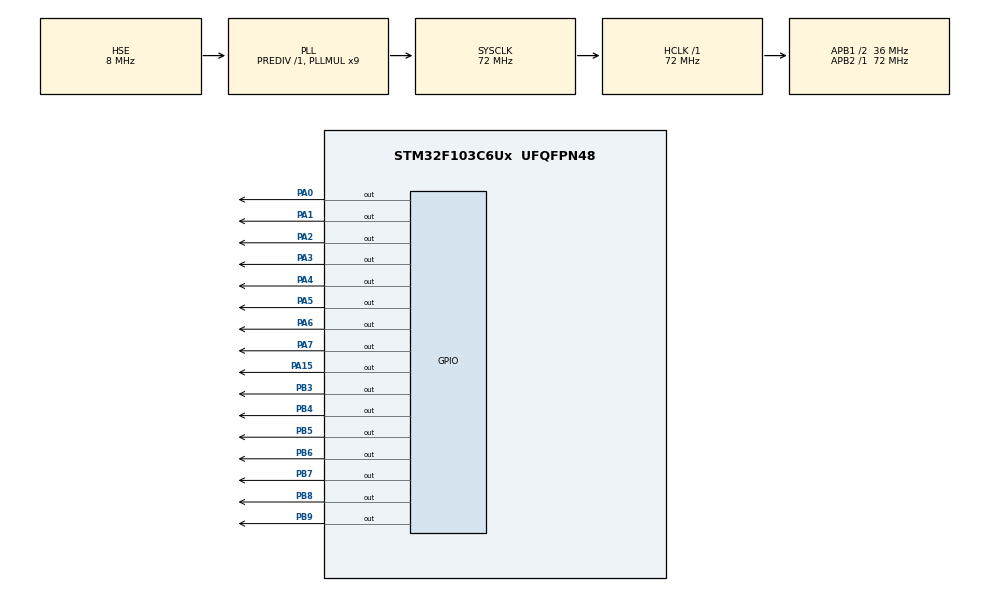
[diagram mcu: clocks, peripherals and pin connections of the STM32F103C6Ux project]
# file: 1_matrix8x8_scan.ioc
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Mcu.Family=STM32F1
PA2.GPIO_Speed=GPIO_SPEED_FREQ_HIGH
PB9.GPIO_ModeDefaultOutputPP=GPIO_MODE_OUTPUT_PP
PA7.GPIO_ModeDefaultOutputPP=GPIO_MODE_OUTPUT_PP
PA3.GPIO_Speed=GPIO_SPEED_FREQ_HIGH
PB3.GPIO_Speed=GPIO_SPEED_FREQ_HIGH
RCC.SYSCLKSource=RCC_SYSCLKSOURCE_PLLCLK
ProjectManager.StackSize=0x400
PD1-OSC_OUT.Signal=RCC_OSC_OUT
RCC.HCLKFreq_Value=72000000
RCC.APB2TimFreq_Value=72000000
PB6.Signal=GPIO_Output
RCC.AHBFreq_Value=72000000
PA0-WKUP.GPIO_Speed=GPIO_SPEED_FREQ_HIGH
RCC.PLLMUL=RCC_PLL_MUL9
PA4.GPIO_Speed=GPIO_SPEED_FREQ_HIGH
PA14.Mode=Serial_Wire
NVIC.TIM2_IRQn=true\:0\:0\:false\:false\:true\:true\:true
PB7.Signal=GPIO_Output
PA15.GPIO_ModeDefaultOutputPP=GPIO_MODE_OUTPUT_PP
Mcu.Package=UFQFPN48
PB9.Signal=GPIO_Output
TIM2.Prescaler=72-1
PA6.Signal=GPIO_Output
PA2.GPIO_ModeDefaultOutputPP=GPIO_MODE_OUTPUT_PP
PB6.GPIO_ModeDefaultOutputPP=GPIO_MODE_OUTPUT_PP
PA15.Signal=GPIO_Output
PB8.GPIO_ModeDefaultOutputPP=GPIO_MODE_OUTPUT_PP
PA4.GPIO_ModeDefaultOutputPP=GPIO_MODE_OUTPUT_PP
PA6.GPIO_ModeDefaultOutputPP=GPIO_MODE_OUTPUT_PP
PB5.GPIO_Speed=GPIO_SPEED_FREQ_HIGH
PB9.GPIO_Speed=GPIO_SPEED_FREQ_HIGH
RCC.APB1TimFreq_Value=72000000
PA6.GPIO_Speed=GPIO_SPEED_FREQ_HIGH
PB4.Signal=GPIO_Output
PB4.GPIO_ModeDefaultOutputPP=GPIO_MODE_OUTPUT_PP
PA3.Signal=GPIO_Output
PB7.GPIO_Speed=GPIO_SPEED_FREQ_HIGH
RCC.PLLSourceVirtual=RCC_PLLSOURCE_HSE
PB5.GPIO_ModeDefaultOutputPP=GPIO_MODE_OUTPUT_PP
PA0-WKUP.GPIO_ModeDefaultOutputPP=GPIO_MODE_OUTPUT_PP
PA3.GPIO_ModeDefaultOutputPP=GPIO_MODE_OUTPUT_PP
PD1-OSC_OUT.Mode=HSE-External-Oscillator
PD0-OSC_IN.Signal=RCC_OSC_IN
RCC.APB1CLKDivider=RCC_HCLK_DIV2
PA0-WKUP.Signal=GPIO_Output
PA13.Signal=SYS_JTMS-SWDIO
ProjectManager.TargetToolchain=STM32CubeIDE
RCC.USBFreq_Value=72000000
PA1.Signal=GPIO_Output
PD0-OSC_IN.Mode=HSE-External-Oscillator
PA5.Signal=GPIO_Output
board=custom
PA7.GPIO_Speed=GPIO_SPEED_FREQ_HIGH
PB4.GPIO_Speed=GPIO_SPEED_FREQ_HIGH
RCC.APB2Freq_Value=72000000
PA5.GPIO_ModeDefaultOutputPP=GPIO_MODE_OUTPUT_PP
VP_TIM2_VS_ClockSourceINT.Mode=Internal
PB7.GPIO_ModeDefaultOutputPP=GPIO_MODE_OUTPUT_PP
PA1.GPIO_Speed=GPIO_SPEED_FREQ_HIGH
TIM2.Period=0xffff-1
PA13.Mode=Serial_Wire
Mcu.Name=STM32F103C6Ux
PA2.Signal=GPIO_Output
PB3.Signal=GPIO_Output
PA4.Signal=GPIO_Output
RCC.SYSCLKFreq_VALUE=72000000
PB5.Signal=GPIO_Output
PA15.GPIO_Speed=GPIO_SPEED_FREQ_HIGH
PA14.Signal=SYS_JTCK-SWCLK
ProjectManager.HeapSize=0x200
PA5.GPIO_Speed=GPIO_SPEED_FREQ_HIGH
NVIC.PriorityGroup=NVIC_PRIORITYGROUP_4
PB8.Signal=GPIO_Output
PB6.GPIO_Speed=GPIO_SPEED_FREQ_HIGH
RCC.APB1Freq_Value=36000000
PB8.GPIO_Speed=GPIO_SPEED_FREQ_HIGH
PB3.GPIO_ModeDefaultOutputPP=GPIO_MODE_OUTPUT_PP
PA7.Signal=GPIO_Output
PA1.GPIO_ModeDefaultOutputPP=GPIO_MODE_OUTPUT_PP

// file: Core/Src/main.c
/* USER CODE BEGIN Header */
/**
  ******************************************************************************
  * @file           : main.c
  * @brief          : Main program body
  ******************************************************************************
  * @attention
  *
  * <h2><center>&copy; Copyright (c) 2021 STMicroelectronics.
  * All rights reserved.</center></h2>
  *
  * This software component is licensed by ST under BSD 3-Clause license,
  * the "License"; You may not use this file except in compliance with the
  * License. You may obtain a copy of the License at:
  *                        opensource.org/licenses/BSD-3-Clause
  *
  ******************************************************************************
  */
/* USER CODE END Header */
#include "main.h"

TIM_HandleTypeDef htim2;

void SystemClock_Config(void);
static void MX_GPIO_Init(void);
static void MX_TIM2_Init(void);

/* USER CODE BEGIN 0 */
volatile uint32_t cntTimer;
volatile uint32_t mSecond;
uint16_t ms = 0;
void HAL_TIM_PeriodElapsedCallback(TIM_HandleTypeDef *htim)
{
	if(htim->Instance == TIM2)
	{
		if(cntTimer>0)
		{
			cntTimer--;
			HAL_TIM_Base_Start_IT(&htim2);
		}
		else
		HAL_TIM_Base_Stop_IT(&htim2);
	}
}
void Delay_us(uint32_t _cntTimer)
{
	cntTimer = _cntTimer;
	HAL_TIM_Base_Start_IT(&htim2);
	while(cntTimer);
}
void SysTick_Handler(void)
{
  /* USER CODE BEGIN SysTick_IRQn 0 */

  /* USER CODE END SysTick_IRQn 0 */
	if(ms<2000)
	{
		ms++;
	}
	else
	{
		ms = 0;
		if(mSecond<37)
			mSecond++;
		else
			mSecond = 0;
	}
  HAL_IncTick();
  /* USER CODE BEGIN SysTick_IRQn 1 */

  /* USER CODE END SysTick_IRQn 1 */
}
/* USER CODE END 0 */

int main(void)
{

  /* MCU Configuration--------------------------------------------------------*/

  /* Reset of all peripherals, Initializes the Flash interface and the Systick. */
  HAL_Init();

  /* Configure the system clock */
  SystemClock_Config();

  /* Initialize all configured peripherals */
  MX_GPIO_Init();
  MX_TIM2_Init();
  /* USER CODE BEGIN 2 */
  HAL_GPIO_WritePin(GPIOA, GPIO_PIN_0, GPIO_PIN_SET);//ROW 1 HIGH
   HAL_GPIO_WritePin(GPIOB, GPIO_PIN_9, GPIO_PIN_SET);//ROW 1 HIGH
  /* USER CODE END 2 */

  /* Infinite loop */
  while (1)
  {

    /* USER CODE BEGIN 3 */
	//  Matrix8x8_Display_Symbol(cntTimer);
  }
  /* USER CODE END 3 */
}

void SystemClock_Config(void)
{
  RCC_OscInitTypeDef RCC_OscInitStruct = {0};
  RCC_ClkInitTypeDef RCC_ClkInitStruct = {0};

  /** Initializes the RCC Oscillators according to the specified parameters
  * in the RCC_OscInitTypeDef structure.
  */
  RCC_OscInitStruct.OscillatorType = RCC_OSCILLATORTYPE_HSE;
  RCC_OscInitStruct.HSEState = RCC_HSE_ON;
  RCC_OscInitStruct.HSEPredivValue = RCC_HSE_PREDIV_DIV1;
  RCC_OscInitStruct.HSIState = RCC_HSI_ON;
  RCC_OscInitStruct.PLL.PLLState = RCC_PLL_ON;
  RCC_OscInitStruct.PLL.PLLSource = RCC_PLLSOURCE_HSE;
  RCC_OscInitStruct.PLL.PLLMUL = RCC_PLL_MUL9;
  if (HAL_RCC_OscConfig(&RCC_OscInitStruct) != HAL_OK)
  {
    Error_Handler();
  }
  /** Initializes the CPU, AHB and APB buses clocks
  */
  RCC_ClkInitStruct.ClockType = RCC_CLOCKTYPE_HCLK|RCC_CLOCKTYPE_SYSCLK
                              |RCC_CLOCKTYPE_PCLK1|RCC_CLOCKTYPE_PCLK2;
  RCC_ClkInitStruct.SYSCLKSource = RCC_SYSCLKSOURCE_PLLCLK;
  RCC_ClkInitStruct.AHBCLKDivider = RCC_SYSCLK_DIV1;
  RCC_ClkInitStruct.APB1CLKDivider = RCC_HCLK_DIV2;
  RCC_ClkInitStruct.APB2CLKDivider = RCC_HCLK_DIV1;

  if (HAL_RCC_ClockConfig(&RCC_ClkInitStruct, FLASH_LATENCY_2) != HAL_OK)
  {
    Error_Handler();
  }
}

static void MX_TIM2_Init(void)
{

  TIM_ClockConfigTypeDef sClockSourceConfig = {0};
  TIM_MasterConfigTypeDef sMasterConfig = {0};

  htim2.Instance = TIM2;
  htim2.Init.Prescaler = 72-1;
  htim2.Init.CounterMode = TIM_COUNTERMODE_UP;
  htim2.Init.Period = 0xffff-1;
  htim2.Init.ClockDivision = TIM_CLOCKDIVISION_DIV1;
  htim2.Init.AutoReloadPreload = TIM_AUTORELOAD_PRELOAD_DISABLE;
  if (HAL_TIM_Base_Init(&htim2) != HAL_OK)
  {
    Error_Handler();
  }
  sClockSourceConfig.ClockSource = TIM_CLOCKSOURCE_INTERNAL;
  if (HAL_TIM_ConfigClockSource(&htim2, &sClockSourceConfig) != HAL_OK)
  {
    Error_Handler();
  }
  sMasterConfig.MasterOutputTrigger = TIM_TRGO_RESET;
  sMasterConfig.MasterSlaveMode = TIM_MASTERSLAVEMODE_DISABLE;
  if (HAL_TIMEx_MasterConfigSynchronization(&htim2, &sMasterConfig) != HAL_OK)
  {
    Error_Handler();
  }

}

static void MX_GPIO_Init(void)
{
  GPIO_InitTypeDef GPIO_InitStruct = {0};

  /* GPIO Ports Clock Enable */
  __HAL_RCC_GPIOD_CLK_ENABLE();
  __HAL_RCC_GPIOA_CLK_ENABLE();
  __HAL_RCC_GPIOB_CLK_ENABLE();

  /*Configure GPIO pin Output Level */
  HAL_GPIO_WritePin(GPIOA, GPIO_PIN_0|GPIO_PIN_1|GPIO_PIN_2|GPIO_PIN_3
                          |GPIO_PIN_4|GPIO_PIN_5|GPIO_PIN_6|GPIO_PIN_7
                          |GPIO_PIN_15, GPIO_PIN_RESET);

  /*Configure GPIO pin Output Level */
  HAL_GPIO_WritePin(GPIOB, GPIO_PIN_3|GPIO_PIN_4|GPIO_PIN_5|GPIO_PIN_6
                          |GPIO_PIN_7|GPIO_PIN_8|GPIO_PIN_9, GPIO_PIN_RESET);

  /*Configure GPIO pins : PA0 PA1 PA2 PA3
                           PA4 PA5 PA6 PA7
                           PA15 */
  GPIO_InitStruct.Pin = GPIO_PIN_0|GPIO_PIN_1|GPIO_PIN_2|GPIO_PIN_3
                          |GPIO_PIN_4|GPIO_PIN_5|GPIO_PIN_6|GPIO_PIN_7
                          |GPIO_PIN_15;
  GPIO_InitStruct.Mode = GPIO_MODE_OUTPUT_PP;
  GPIO_InitStruct.Pull = GPIO_NOPULL;
  GPIO_InitStruct.Speed = GPIO_SPEED_FREQ_HIGH;
  HAL_GPIO_Init(GPIOA, &GPIO_InitStruct);

  /*Configure GPIO pins : PB3 PB4 PB5 PB6
                           PB7 PB8 PB9 */
  GPIO_InitStruct.Pin = GPIO_PIN_3|GPIO_PIN_4|GPIO_PIN_5|GPIO_PIN_6
                          |GPIO_PIN_7|GPIO_PIN_8|GPIO_PIN_9;
  GPIO_InitStruct.Mode = GPIO_MODE_OUTPUT_PP;
  GPIO_InitStruct.Pull = GPIO_NOPULL;
  GPIO_InitStruct.Speed = GPIO_SPEED_FREQ_HIGH;
  HAL_GPIO_Init(GPIOB, &GPIO_InitStruct);

}

void Error_Handler(void)
{
  __disable_irq();
  while (1)
  {
  }
}

/************************ (C) COPYRIGHT STMicroelectronics *****END OF FILE****/
